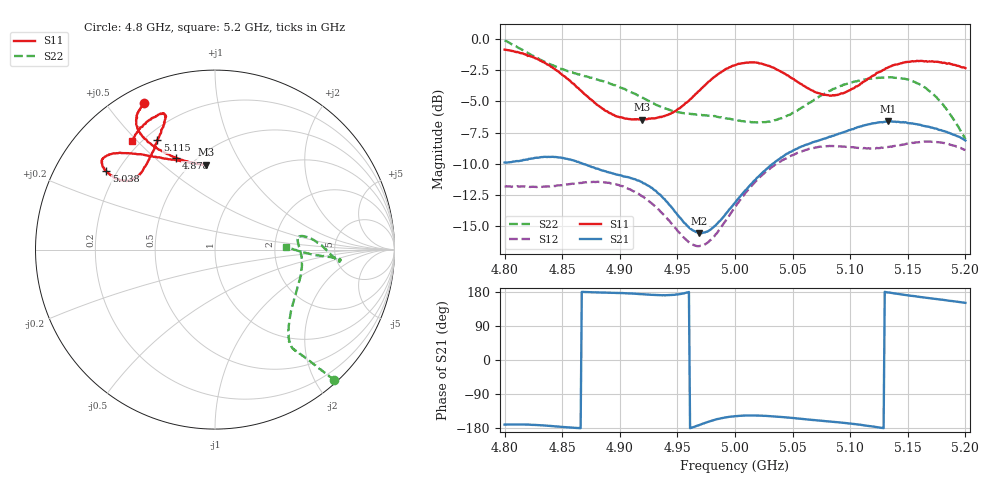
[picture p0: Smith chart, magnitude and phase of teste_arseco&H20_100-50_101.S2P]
! Network Analyzer HP8722D
! Hewlett-Packard
! Data name: Linha & Wilkinson
! Saver's name: Rodrigo Anjos
! Comments: Teste da utilização de aquisição
! continua pelo VNA HP8722D
! Time and date: 6/5/2025 13:24
!  Frequency  S11  S21  S12  S22
# HZ  S  MA R 50
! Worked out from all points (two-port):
!   401 points, 4.8 GHz to 5.2 GHz, reference 50 ohm
!   highest |S21| = -6.60 dB at 5.133 GHz (marker M1); lowest = -15.6 dB at 4.969 GHz (marker M2)
!   |S21| within 3 dB of the highest: 4.822 GHz to 4.854 GHz (31.71 MHz wide, 0.655 % of centre); 5.039 GHz to end of sweep (the widest 2 of 3)
!   lowest |S11| = -6.5 dB at 4.919 GHz (marker M3), VSWR 2.81, Z = 29.2 + j35.6 ohm
!   |S11| at or under -10 dB: nowhere
!   |S22| runs from -8.0 to -0.1 dB; largest |S21 - S12| = 0.83
!   S11 on the Smith chart (normalised r, x): 4.8 GHz: 0.07, +0.63; 4.878 GHz: 0.40, +0.59; 5.038 GHz: 0.16, +0.31; 5.115 GHz: 0.25, +0.58; 5.2 GHz: 0.17, +0.48
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4.8e9  0.9049 115.8  0.3202 -170.5  0.2569 -86.0  0.9845 -47.5
4.817e9  0.868 120.0  0.3277 -170.4  0.2567 -82.4  0.8927 -48.5
4.834e9  0.8063 122.5  0.3368 -172.6  0.2564 -76.9  0.8122 -49.7
4.867e9  0.6158 117.9  0.3178 179.8  0.2652 -67.4  0.7153 -51.6
4.878e9  0.5552 112.8  0.3051 178.5  0.2678 -66.0  0.6931 -51.9
4.901e9  0.4852 100.7  0.2842 176.5  0.2581 -66.8  0.6374 -50.0
4.919e9  0.4751 96.2  0.2679 173.8  0.235 -68.7  0.5836 -44.9
4.934e9  0.4848 99.1  0.2398 171.1  0.2072 -69.5  0.5387 -37.4
4.947e9  0.5107 107.2  0.2062 172.0  0.178 -67.0  0.5136 -28.9
4.969e9  0.619 123.4  0.1669 -171.6  0.1483 -48.0  0.4966 -15.0
4.982e9  0.7036 130.6  0.1777 -158.2  0.1623 -33.2  0.4913 -8.1
5e9  0.784 137.2  0.2211 -148.4  0.2125 -21.4  0.4741 -0.3
5.018e9  0.8038 141.7  0.2738 -146.4  0.2694 -18.3  0.4633 5.8
5.038e9  0.7467 144.3  0.3296 -149.8  0.3208 -18.4  0.4784 8.8
5.067e9  0.6216 141.9  0.3852 -158.1  0.3654 -20.6  0.5628 4.7
5.088e9  0.5957 133.0  0.4139 -163.9  0.3723 -23.8  0.6374 -1.8
5.115e9  0.691 117.8  0.4544 -173.7  0.3646 -26.7  0.6909 -5.3
5.133e9  0.7686 111.4  0.4678 178.3  0.3692 -28.6  0.6994 -4.8
5.134e9  0.7719 111.2  0.4663 177.9  0.3698 -28.8  0.701 -4.8
5.161e9  0.8154 112.3  0.453 166.2  0.387 -35.1  0.6552 -3.7
5.179e9  0.8051 118.6  0.4313 159.2  0.3844 -40.8  0.5549 -3.0
5.2e9  0.763 127.3  0.3921 150.8  0.359 -46.3  0.3967 2.3
